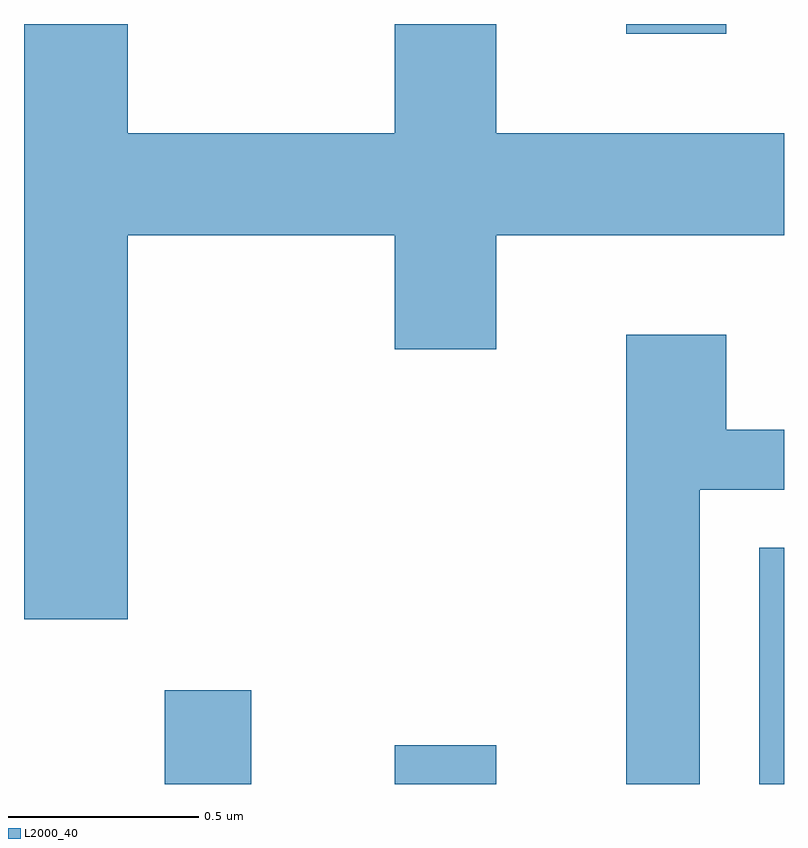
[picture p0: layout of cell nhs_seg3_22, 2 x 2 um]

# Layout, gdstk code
import gdstk
lib = gdstk.Library(unit=1e-6, precision=1e-09)
def R(c, l, rs):  # rectangles x0, y0, x1, y1
    for r in rs: c.add(gdstk.rectangle(r[:2], r[2:], *l))
def P(c, l, *ps):  # polygons
    for p in ps: c.add(gdstk.Polygon(p, *l))
L2000_40 = (2000, 40)

nhs_seg3_22 = lib.new_cell('nhs_seg3_22')
R(nhs_seg3_22, L2000_40, [(185.981,1137.892,186.209,1138.139), (186.586,1137.892,186.854,1137.994), (187.546,1137.892,187.611,1138.514), (187.196,1139.866,187.459,1139.892)])
P(nhs_seg3_22, L2000_40, [(185.884,1139.336),(186.586,1139.336),(186.586,1139.036),(186.854,1139.036),(186.854,1139.336),(187.611,1139.336),(187.611,1139.604),(186.854,1139.604),(186.854,1139.892),(186.586,1139.892),(186.586,1139.604),(185.884,1139.604),(185.884,1139.892),(185.611,1139.892),(185.611,1138.326),(185.884,1138.326)],
  [(187.389,1138.666),(187.611,1138.666),(187.611,1138.824),(187.459,1138.824),(187.459,1139.074),(187.196,1139.074),(187.196,1137.892),(187.389,1137.892)])

lib.write_gds('nhs_seg3_22.gds')
